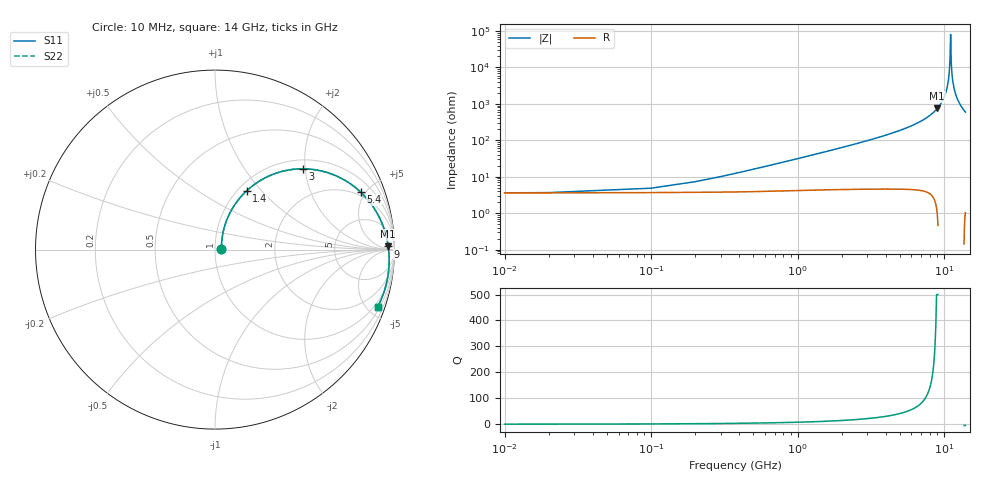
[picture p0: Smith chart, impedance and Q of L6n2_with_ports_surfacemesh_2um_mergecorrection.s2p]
#  GHZ S DB R 50.0
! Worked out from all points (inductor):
!   142 points, 10 MHz to 14 GHz, reference 50 ohm
!   read as one part in series: L = 4.97 nH near 400 MHz
!   highest Q = 778 at 9 GHz (marker M1), where L = 13.3 nH
!   self-resonance near 11 GHz
!   S11 on the Smith chart (normalised r, x): 10 MHz: 1.07, +0.01; 1.4 GHz: 1.10, +0.84; 3 GHz: 1.20, +1.95; 5.4 GHz: 1.73, +4.65; 9 GHz: 45, +23; 14 GHz: 0.69, -5.73
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0.01  -29.10 4.7  -0.31 -0.2  -0.31 -0.2  -29.10 4.7
0.3  -20.85 62.4  -0.38 -5.6  -0.38 -5.6  -20.85 62.4
0.6  -15.35 68.3  -0.52 -10.9  -0.52 -10.9  -15.35 68.3
1.4  -8.55 61.6  -1.14 -23.9  -1.14 -23.9  -8.56 61.6
2.4  -4.82 49.4  -2.33 -38.0  -2.33 -38.0  -4.82 49.4
3  -3.54 42.6  -3.21 -45.4  -3.21 -45.4  -3.54 42.6
4.7  -1.60 26.8  -6.15 -62.1  -6.15 -62.1  -1.60 26.8
5.4  -1.18 21.5  -7.52 -67.5  -7.52 -67.5  -1.18 21.5
7.1  -0.59 10.8  -11.42 -78.7  -11.42 -78.7  -0.59 10.8
9  -0.31 1.0  -17.77 -88.9  -17.77 -88.9  -0.31 1.0
9.4  -0.28 -0.8  -19.75 -90.9  -19.75 -90.9  -0.28 -0.8
10.2  -0.24 -4.3  -25.58 -95.0  -25.58 -95.0  -0.24 -4.3
10.7  -0.23 -6.5  -32.94 -98.4  -32.94 -98.4  -0.23 -6.5
10.9  -0.22 -7.3  -39.33 -101.7  -39.33 -101.7  -0.22 -7.3
11  -0.22 -7.7  -45.98 -107.5  -45.98 -107.5  -0.22 -7.7
11.1  -0.22 -8.1  -58.36 128.0  -58.36 128.0  -0.22 -8.1
11.2  -0.22 -8.6  -43.54 89.1  -43.54 89.1  -0.22 -8.6
11.3  -0.22 -9.0  -38.17 85.2  -38.17 85.2  -0.22 -9.0
11.5  -0.23 -9.8  -32.51 82.5  -32.51 82.5  -0.23 -9.8
11.7  -0.23 -10.6  -29.14 81.0  -29.14 81.0  -0.23 -10.6
12.6  -0.26 -14.2  -21.50 76.5  -21.50 76.5  -0.26 -14.2
14  -0.35 -19.5  -16.08 70.6  -16.08 70.6  -0.35 -19.5
